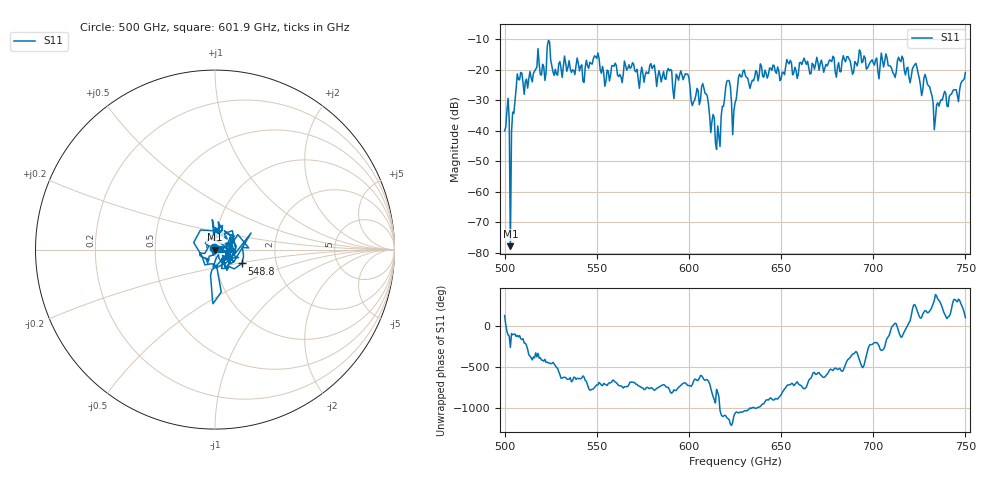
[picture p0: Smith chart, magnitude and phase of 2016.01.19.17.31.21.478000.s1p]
!Created with skrf (http://scikit-rf.org).
# GHz S RI R 50.0
!freq ReS11 ImS11
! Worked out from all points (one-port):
!   401 points, 500 GHz to 750 GHz, reference 50 ohm
!   lowest |S11| = -77.9 dB at 503.1 GHz (marker M1), VSWR 1.00, Z = 50 + j0.0127 ohm
!   |S11| at or under -10 dB: start of sweep to end of sweep
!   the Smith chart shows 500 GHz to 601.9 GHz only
!   S11 on the Smith chart (normalised r, x): 500 GHz: 0.99, +0.02; 548.8 GHz: 1.33, -0.21; 601.9 GHz: 1.05, +0.01
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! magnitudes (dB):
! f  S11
! 500 GHz  -40.1
! 501.2 GHz  -33.5
! 501.9 GHz  -29.4
! 503.1 GHz  -77.9
! 504.4 GHz  -33.9
! 505.6 GHz  -30.4
! 508.1 GHz  -23.4
! 521.2 GHz  -19.0
! 524.4 GHz  -10.8
! 527.5 GHz  -19.9
! 531.2 GHz  -22.5
! 548.8 GHz  -15.4
! 562.5 GHz  -21.6
! 593.8 GHz  -22.3
! 598.8 GHz  -21.5
! 601.9 GHz  -31.8
! 608.1 GHz  -26.1
! 615.6 GHz  -38.4
! 621.2 GHz  -23.5
! 625 GHz  -30.9
! 628.8 GHz  -22.3
! 656.2 GHz  -21.7
! 687.5 GHz  -17.1
! 715 GHz  -17.4
! 718.8 GHz  -19.2
! 728.8 GHz  -22.9
! 734.4 GHz  -31.5
! 750 GHz  -20.9
